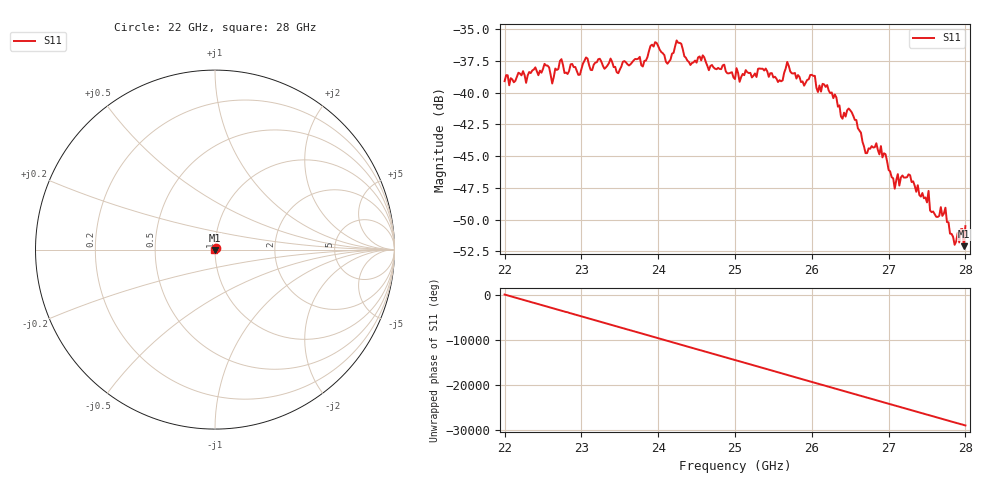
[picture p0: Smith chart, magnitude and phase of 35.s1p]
#  HZ  S  RI  R  50.00
! Rohde & Schwarz ZVA40 4Ports - Version 3.90 - 1145.1110k42 SN: 100403
! Date: 2023-10-04 07:30:53
! Measurement: S12
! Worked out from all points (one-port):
!   301 points, 22 GHz to 28 GHz, reference 50 ohm
!   lowest |S11| = -52.1 dB at 27.98 GHz (marker M1), VSWR 1.00, Z = 50 - j0.248 ohm
!   |S11| at or under -10 dB: start of sweep to end of sweep
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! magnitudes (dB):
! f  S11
! 22 GHz  -39.1
! 22.52 GHz  -37.7
! 22.62 GHz  -39.3
! 22.76 GHz  -37.8
! 23.5 GHz  -38.2
! 23.8 GHz  -37.9
! 23.96 GHz  -36.0
! 24.12 GHz  -37.7
! 24.26 GHz  -36.1
! 24.42 GHz  -37.8
! 24.58 GHz  -37.1
! 25 GHz  -38.9
! 25.76 GHz  -38.5
! 26.2 GHz  -39.4
! 26.4 GHz  -42.1
! 26.5 GHz  -41.4
! 26.7 GHz  -44.8
! 26.96 GHz  -44.8
! 27.08 GHz  -47.6
! 27.26 GHz  -46.4
! 27.52 GHz  -47.7
! 27.54 GHz  -49.3
! 27.62 GHz  -49.8
! 27.74 GHz  -49.1
! 27.86 GHz  -52.0
! 27.96 GHz  -50.7
! 27.98 GHz  -52.1
! 28 GHz  -50.5
